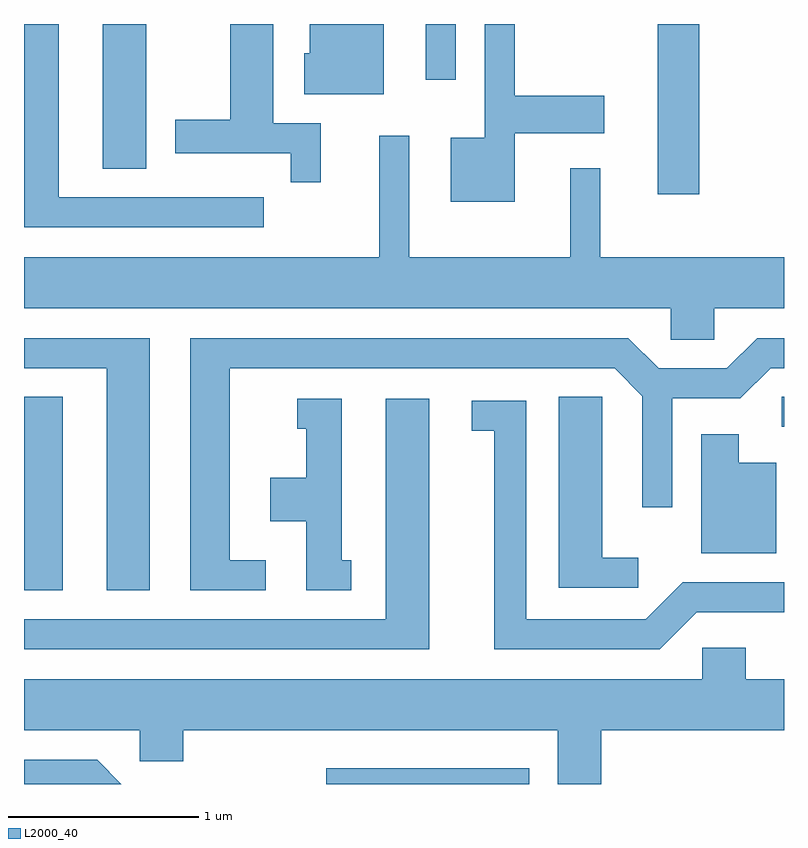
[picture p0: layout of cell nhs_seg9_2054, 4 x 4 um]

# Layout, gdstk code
import gdstk
lib = gdstk.Library(unit=1e-6, precision=1e-09)
def R(c, l, rs):  # rectangles x0, y0, x1, y1
    for r in rs: c.add(gdstk.rectangle(r[:2], r[2:], *l))
def P(c, l, *ps):  # polygons
    for p in ps: c.add(gdstk.Polygon(p, *l))
L2000_40 = (2000, 40)

nhs_seg9_2054 = lib.new_cell('nhs_seg9_2054')
R(nhs_seg9_2054, L2000_40, [(247.201,1980.432,248.269,1980.514), (245.611,1981.451,245.814,1982.469), (249.598,1982.311,249.611,1982.469), (248.946,1983.536,249.164,1984.432), (246.026,1983.671,246.254,1984.432), (247.726,1984.138,247.884,1984.432)])
P(nhs_seg9_2054, L2000_40, [(247.504,1984.432),(247.116,1984.432),(247.116,1984.279),(247.086,1984.279),(247.086,1984.061),(247.504,1984.061)],
  [(247.174,1983.909),(246.924,1983.909),(246.924,1984.432),(246.696,1984.432),(246.696,1983.929),(246.406,1983.929),(246.406,1983.751),(247.016,1983.751),(247.016,1983.598),(247.174,1983.598)],
  [(248.194,1983.856),(248.664,1983.856),(248.664,1984.054),(248.194,1984.054),(248.194,1984.432),(248.036,1984.432),(248.036,1983.834),(247.856,1983.834),(247.856,1983.496),(248.194,1983.496)],
  [(246.873,1983.519),(245.794,1983.519),(245.794,1984.432),(245.611,1984.432),(245.611,1983.361),(246.873,1983.361)],
  [(249.244,1982.936),(249.611,1982.936),(249.611,1983.204),(248.644,1983.204),(248.644,1983.673),(248.486,1983.673),(248.486,1983.204),(247.639,1983.204),(247.639,1983.843),(247.481,1983.843),(247.481,1983.204),(245.611,1983.204),(245.611,1982.936),(249.016,1982.936),(249.016,1982.771),(249.244,1982.771)],
  [(246.274,1982.779),(245.611,1982.779),(245.611,1982.621),(246.046,1982.621),(246.046,1981.451),(246.274,1981.451)],
  [(246.883,1981.609),(246.694,1981.609),(246.694,1982.621),(248.719,1982.621),(248.866,1982.474),(248.866,1981.888),(249.024,1981.888),(249.024,1982.461),(249.382,1982.461),(249.542,1982.621),(249.611,1982.621),(249.611,1982.779),(249.469,1982.779),(249.309,1982.619),(248.952,1982.619),(248.792,1982.779),(246.486,1982.779),(246.486,1981.451),(246.883,1981.451)],
  [(248.843,1981.624),(248.654,1981.624),(248.654,1982.469),(248.426,1982.469),(248.426,1981.466),(248.843,1981.466)],
  [(247.744,1982.459),(247.516,1982.459),(247.516,1981.299),(245.611,1981.299),(245.611,1981.141),(247.744,1981.141)],
  [(247.333,1981.609),(247.284,1981.609),(247.284,1982.459),(247.048,1982.459),(247.048,1982.301),(247.096,1982.301),(247.096,1982.044),(246.906,1982.044),(246.906,1981.816),(247.096,1981.816),(247.096,1981.451),(247.333,1981.451)],
  [(249.152,1981.336),(249.611,1981.336),(249.611,1981.494),(249.079,1981.494),(248.884,1981.299),(248.254,1981.299),(248.254,1982.449),(247.968,1982.449),(247.968,1982.291),(248.086,1982.291),(248.086,1981.141),(248.957,1981.141)],
  [(249.569,1982.124),(249.374,1982.124),(249.374,1982.274),(249.176,1982.274),(249.176,1981.646),(249.569,1981.646)],
  [(248.649,1980.716),(249.611,1980.716),(249.611,1980.984),(249.409,1980.984),(249.409,1981.149),(249.181,1981.149),(249.181,1980.984),(245.611,1980.984),(245.611,1980.716),(246.221,1980.716),(246.221,1980.551),(246.449,1980.551),(246.449,1980.716),(248.421,1980.716),(248.421,1980.432),(248.649,1980.432)],
  [(245.997,1980.559),(245.611,1980.559),(245.611,1980.432),(246.124,1980.432)])

lib.write_gds('nhs_seg9_2054.gds')
